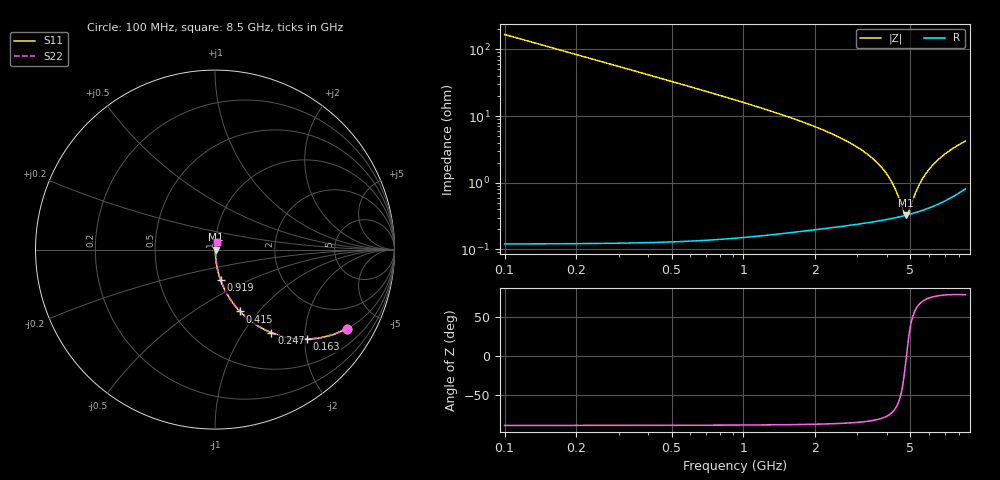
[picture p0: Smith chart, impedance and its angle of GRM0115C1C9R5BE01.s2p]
!Murata Part Number: GRM0115C1C9R5BE01
!These Parameters are Measured in Series Mode Connection
!Data Generated on Mar 30, 2021
!  o--ll--o
!Port1  Port2
!  o------o
!Operation Temp=25[degC], DC Bias Voltage=0[V]
!Freq. Start=100[MHz] Stop=9[GHz] 401[Steps]
# Hz S RI R 50
!Freq.(Hz) S11(Real) S11(Imag) S21(Real) S21(Imag) S12(Real) S12(Imag) S22(Real) S22(Imag)
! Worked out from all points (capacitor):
!   401 points, 100 MHz to 8.5 GHz, reference 50 ohm
!   read as one part in series: C = 9.5 pF near 142 MHz
!   lowest |Z| = 327 mohm at 4.804 GHz (marker M1)
!   series resonance near 4.814 GHz, so ESL is about 120 pH
!   S11 on the Smith chart (normalised r, x): 100 MHz: 1.00, -3.35; 163 MHz: 1.00, -2.05; 247 MHz: 1.00, -1.35; 415 MHz: 1.00, -0.80; 919 MHz: 1.00, -0.35; 8.5 GHz: 1.02, +0.08
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1e8  0.737 -0.4399  0.263 0.4399  0.263 0.4399  0.737 -0.4399
1.63e8  0.5131 -0.4992  0.4869 0.4992  0.4869 0.4992  0.5131 -0.4992
2.47e8  0.3142 -0.4633  0.6858 0.4633  0.6858 0.4633  0.3142 -0.4633
3.31e8  0.2029 -0.4009  0.7971 0.4009  0.7971 0.4009  0.2029 -0.4009
4.15e8  0.139 -0.3444  0.861 0.3444  0.861 0.3444  0.139 -0.3444
6.04e8  0.0703 -0.2532  0.9297 0.2532  0.9297 0.2532  0.0703 -0.2532
9.19e8  0.0312 -0.1696  0.9688 0.1696  0.9688 0.1696  0.0312 -0.1696
1.507e9  0.0116 -0.0986  0.9884 0.0986  0.9884 0.0986  0.0116 -0.0986
2.914e9  0.00364 -0.036  0.9964 0.036  0.9964 0.036  0.00364 -0.036
3.376e9  0.00316 -0.025  0.9968 0.025  0.9968 0.025  0.00316 -0.025
3.754e9  0.003 -0.0173  0.997 0.0173  0.997 0.0173  0.003 -0.0173
4.048e9  0.00298 -0.012  0.997 0.012  0.997 0.012  0.00298 -0.012
4.3e9  0.00303 -0.0078  0.997 0.0078  0.997 0.0078  0.00303 -0.0078
4.678e9  0.00318 -0.00197  0.9968 0.00197  0.9968 0.00197  0.00318 -0.00197
4.804e9  0.00325 -0.000138  0.9967 0.000138  0.9967 0.000138  0.00325 -0.000138
4.909e9  0.00332 0.00135  0.9967 -0.00135  0.9967 -0.00135  0.00332 0.00135
5.182e9  0.00353 0.0051  0.9965 -0.0051  0.9965 -0.0051  0.00353 0.0051
5.35e9  0.00368 0.00731  0.9963 -0.00731  0.9963 -0.00731  0.00368 0.00731
5.707e9  0.00405 0.0118  0.9959 -0.0118  0.9959 -0.0118  0.00405 0.0118
6.316e9  0.00486 0.019  0.9951 -0.019  0.9951 -0.019  0.00486 0.019
7.114e9  0.00626 0.0275  0.9937 -0.0275  0.9937 -0.0275  0.00626 0.0275
8.5e9  0.00967 0.0405  0.9903 -0.0405  0.9903 -0.0405  0.00967 0.0405
